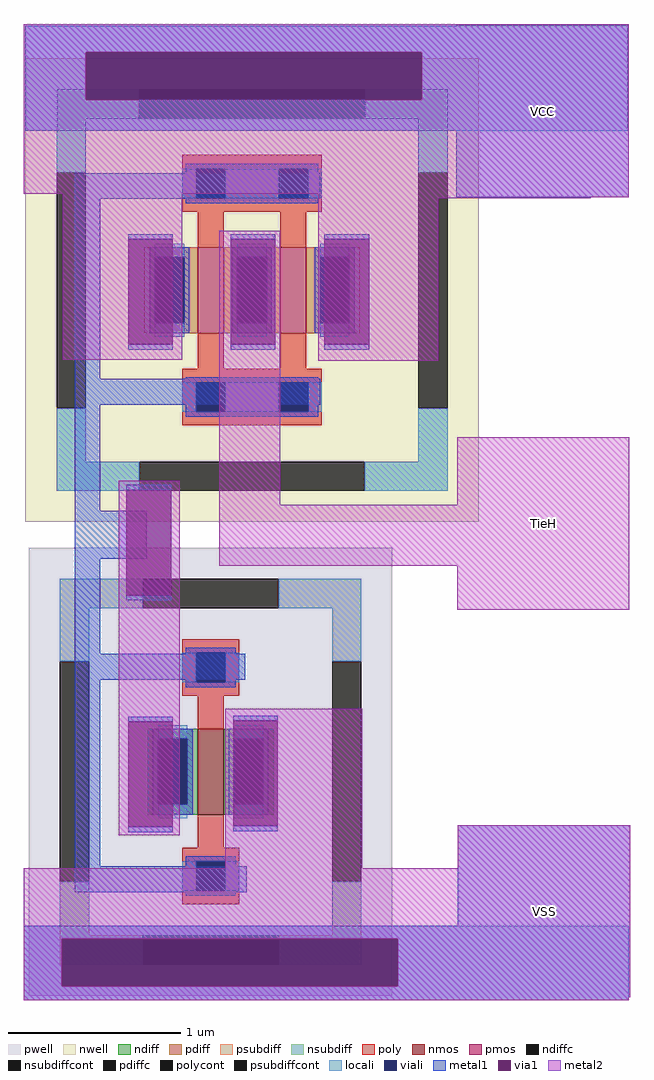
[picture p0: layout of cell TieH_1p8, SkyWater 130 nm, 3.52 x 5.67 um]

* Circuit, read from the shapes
.subckt TieH_1p8 TieH VSS VCC
XM1 VSS n1 n1 VSS sky130_fd_pr__nfet_01v8 w=0.5 l=0.15
XM2 TieH n1 VCC VCC sky130_fd_pr__pfet_01v8 w=0.5 l=0.15 m=2
.ends

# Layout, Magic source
magic
tech sky130A
magscale 1 2
<< locali >>
rect 348 263 1047 294
rect 348 208 418 263
rect 808 208 1047 263
rect 348 172 1047 208
rect 346 -766 1048 -751
rect 346 -821 390 -766
rect 780 -821 1048 -766
rect 346 -837 1048 -821
<< viali >>
rect 418 208 808 263
rect 390 -821 780 -766
<< metal1 >>
rect 848 294 1048 295
rect 348 263 1048 294
rect 348 208 418 263
rect 808 208 1048 263
rect 348 172 1048 208
rect 405 93 690 123
rect 848 95 1048 172
rect 405 -116 435 93
rect 405 -146 690 -116
rect 405 -269 435 -146
rect 405 -325 489 -269
rect 405 -435 435 -325
rect 405 -465 603 -435
rect 405 -682 435 -465
rect 405 -712 605 -682
rect 850 -751 1050 -634
rect 346 -766 1050 -751
rect 346 -821 390 -766
rect 780 -821 1050 -766
rect 346 -834 1050 -821
rect 346 -837 1048 -834
<< via1 >>
rect 418 208 808 263
rect 390 -821 780 -766
<< metal2 >>
rect 346 263 1048 296
rect 346 208 418 263
rect 808 208 1048 263
rect 346 99 1048 208
rect 391 -94 530 99
rect 688 95 1048 99
rect 688 94 1004 95
rect 456 -646 527 -234
rect 573 -262 644 56
rect 688 -95 827 94
rect 849 -262 1049 -184
rect 573 -333 1049 -262
rect 849 -384 1049 -333
rect 580 -684 739 -499
rect 850 -684 1050 -634
rect 346 -766 1050 -684
rect 346 -821 390 -766
rect 780 -821 1050 -766
rect 346 -834 1050 -821
rect 346 -837 1048 -834
use por_via_2cut  por_via_2cut_0
transform 0 1 8512 -1 0 16140
box 16088 -7932 16222 -7868
use por_via_2cut  por_via_2cut_1
transform 0 1 8515 -1 0 15581
box 16088 -7932 16222 -7868
use por_via_2cut  por_via_2cut_2
transform 0 1 8391 -1 0 15849
box 16088 -7932 16222 -7868
use por_via_2cut  por_via_2cut_3
transform 0 1 8393 -1 0 16140
box 16088 -7932 16222 -7868
use por_via_2cut  por_via_2cut_4
transform 0 1 8621 -1 0 16140
box 16088 -7932 16222 -7868
use por_via_2cut  por_via_2cut_5
transform 0 1 8393 -1 0 15580
box 16088 -7932 16222 -7868
use sky130_fd_pr__nfet_01v8_L9ESAD  XM4 paramcells
transform 1 0 563 0 1 -572
box -211 -260 211 260
use sky130_fd_pr__pfet_01v8_XJT6XQ  XM5 paramcells
transform 1 0 611 0 1 -13
box -263 -269 263 269
<< labels >>
flabel metal2 849 -384 1049 -184 0 FreeSans 256 0 0 0 TieH
port 0 nsew
flabel metal2 850 -834 1050 -634 0 FreeSans 256 0 0 0 VSS
port 1 nsew
flabel metal2 848 95 1048 295 0 FreeSans 256 0 0 0 VCC
port 2 nsew
<< end >>

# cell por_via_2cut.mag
magic
tech sky130A
<< metal1 >>
rect 8044 -3963 8047 -3937
rect 8108 -3963 8111 -3937
<< via1 >>
rect 8047 -3963 8108 -3937
<< metal2 >>
rect 8047 -3937 8108 -3934
rect 8047 -3966 8108 -3963
<< end >>

# cell sky130_fd_pr__nfet_01v8_L9ESAD: kit device sky130_fd_pr__nfet_01v8, w 0.5 l 0.15 m 1 nf 1 diffcov 100 polycov 100 guard 1 glc 1 grc 1 gtc 1 gbc 1 tbcov 100 rlcov 100 topc 1 botc 1 poverlap 0 doverlap 1 lmin 0.15 wmin 0.42 compatible {sky130_fd_pr__nfet_01v8 sky130_fd_pr__nfet_01v8_lvt sky130_fd_bs_flash__special_sonosfet_star sky130_fd_pr__nfet_g5v0d10v5 sky130_fd_pr__nfet_05v0_nvt sky130_fd_pr__nfet_03v3_nvt} full_metal 1 viasrc 100 viadrn 100 viagate 100 viagb 0 viagr 0 viagl 0 viagt 0

# cell sky130_fd_pr__pfet_01v8_XJT6XQ: kit device sky130_fd_pr__pfet_01v8, w 0.5 l 0.15 m 1 nf 2 diffcov 100 polycov 100 guard 1 glc 1 grc 1 gtc 1 gbc 1 tbcov 100 rlcov 100 topc 1 botc 1 poverlap 0 doverlap 1 lmin 0.15 wmin 0.42 compatible {sky130_fd_pr__pfet_01v8 sky130_fd_pr__pfet_01v8_lvt sky130_fd_pr__pfet_01v8_hvt sky130_fd_pr__pfet_g5v0d10v5} full_metal 1 viasrc 100 viadrn 100 viagate 100 viagb 0 viagr 0 viagl 0 viagt 0
